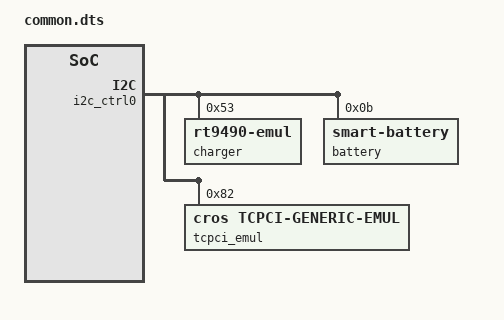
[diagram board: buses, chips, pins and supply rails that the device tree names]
/* Copyright 2022 The ChromiumOS Authors
 * Use of this source code is governed by a BSD-style license that can be
 * found in the LICENSE file.
 */

#include <it8xxx2_emul.dts>

/ {
	pinctrl: pinctrl {
		compatible = "ite,it8xxx2-pinctrl";
		status = "disabled";
	};

	named-i2c-ports {
		compatible = "named-i2c-ports";

		i2c_charger: charger {
			i2c-port = <&i2c_ctrl0>;
			enum-names = "I2C_PORT_CHARGER",
				"I2C_PORT_BATTERY";
		};
	};

	usbc {
		#address-cells = <1>;
		#size-cells = <0>;

		port0@0 {
			compatible = "named-usbc-port";
			status = "okay";
			reg = <0>;
			chg = <&charger>;
			tcpc = <&tcpci_emul>;
		};
	};

	batteries {
		default_battery: lgc_ac17a8m {
			compatible = "lgc,ac17a8m", "battery-smart";
		};
	};
};

&i2c_ctrl0 {
	status="okay";

	charger: rt9490@53 {
		compatible = "zephyr,rt9490-emul";
		status = "okay";
		reg = <0x53>;
	};

	battery: sb@b {
		compatible = "zephyr,smart-battery";
		reg = <0xb>;
		cycle-count = <99>;
		version = "BATTERY_SPEC_VER_1_1_WITH_PEC";
		/* Real battery voltages are multiples of 4.4V. */
		desired-charg-volt = <5000>;
		desired-charg-cur = <1000>;
		mf-name = "LGC";
		dev-name = "AC17A8M";
	};

	tcpci_emul: tcpci_emul@82 {
		compatible = "cros,tcpci-generic-emul";
		status = "okay";
		reg = <0x82>;
	};
};
